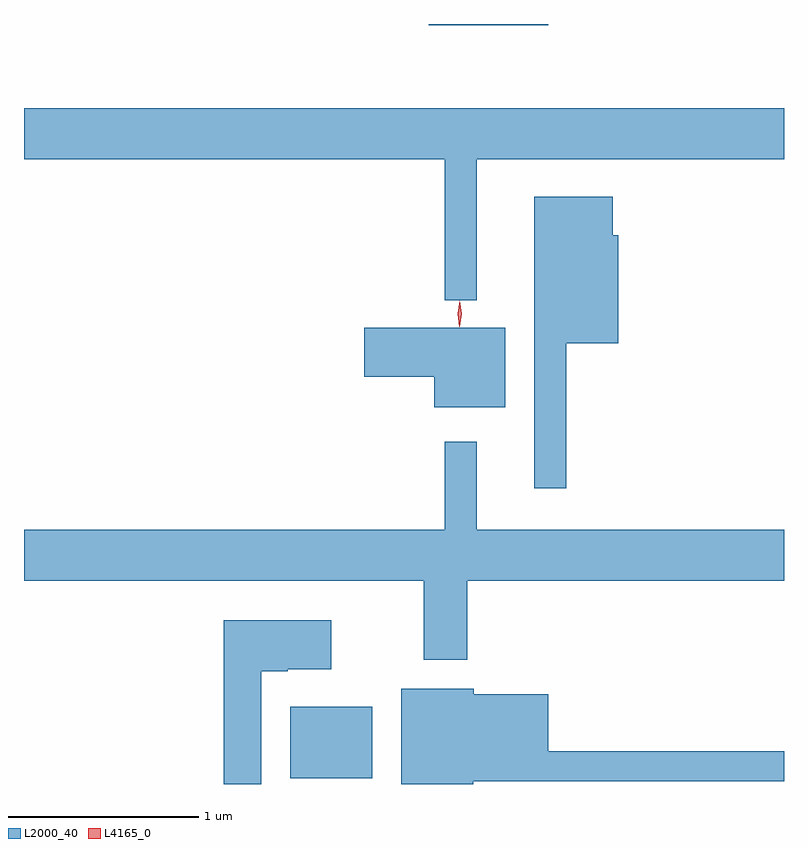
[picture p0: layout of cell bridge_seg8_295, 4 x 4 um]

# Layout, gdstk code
import gdstk
lib = gdstk.Library(unit=1e-6, precision=1e-09)
def R(c, l, rs):  # rectangles x0, y0, x1, y1
    for r in rs: c.add(gdstk.rectangle(r[:2], r[2:], *l))
def P(c, l, *ps):  # polygons
    for p in ps: c.add(gdstk.Polygon(p, *l))
L2000_40 = (2000, 40)
L4165_0 = (4165, 0)

bridge_seg8_295 = lib.new_cell('bridge_seg8_295')
R(bridge_seg8_295, L2000_40, [(1378.556,1862.016,1378.989,1862.394), (1379.286,1865.981,1379.914,1865.987)])
P(bridge_seg8_295, L2000_40, [(1379.539,1865.276),(1381.156,1865.276),(1381.156,1865.544),(1377.156,1865.544),(1377.156,1865.276),(1379.371,1865.276),(1379.371,1864.533),(1379.539,1864.533)],
  [(1380.009,1864.306),(1380.284,1864.306),(1380.284,1864.874),(1380.254,1864.874),(1380.254,1865.079),(1379.841,1865.079),(1379.841,1863.543),(1380.009,1863.543)],
  [(1379.689,1864.389),(1378.946,1864.389),(1378.946,1864.131),(1379.316,1864.131),(1379.316,1863.971),(1379.689,1863.971)],
  [(1379.489,1863.056),(1381.156,1863.056),(1381.156,1863.324),(1379.539,1863.324),(1379.539,1863.788),(1379.371,1863.788),(1379.371,1863.324),(1377.156,1863.324),(1377.156,1863.056),(1379.261,1863.056),(1379.261,1862.641),(1379.489,1862.641)],
  [(1378.404,1862.581),(1378.545,1862.581),(1378.545,1862.591),(1378.774,1862.591),(1378.774,1862.849),(1378.206,1862.849),(1378.206,1861.987),(1378.404,1861.987)],
  [(1379.52,1862.001),(1381.156,1862.001),(1381.156,1862.159),(1379.914,1862.159),(1379.914,1862.459),(1379.524,1862.459),(1379.524,1862.489),(1379.141,1862.489),(1379.141,1861.987),(1379.52,1861.987)])
P(bridge_seg8_295, L4165_0, [(1379.449,1864.4),(1379.44,1864.463),(1379.449,1864.526),(1379.45,1864.527),(1379.45,1864.526),(1379.46,1864.463),(1379.45,1864.4),(1379.45,1864.4)],
  [(1379.448,1864.394),(1379.448,1864.394),(1379.439,1864.462),(1379.449,1864.53),(1379.45,1864.53),(1379.45,1864.53),(1379.459,1864.462),(1379.449,1864.394)])

lib.write_gds('bridge_seg8_295.gds')
